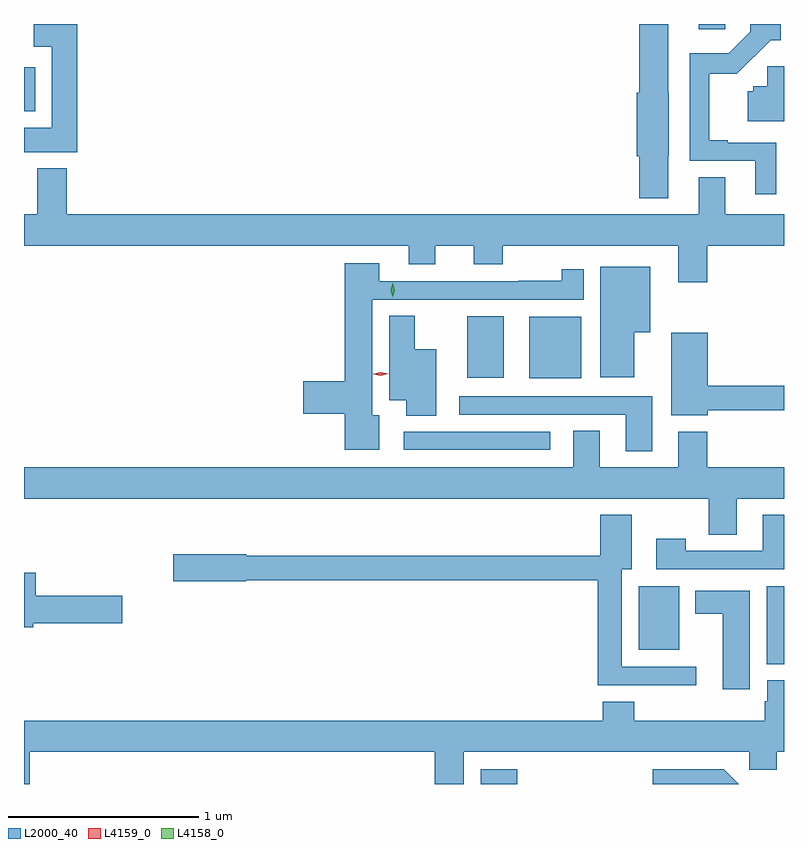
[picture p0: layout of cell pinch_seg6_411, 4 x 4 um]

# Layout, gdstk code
import gdstk
lib = gdstk.Library(unit=1e-6, precision=1e-09)
def R(c, l, rs):  # rectangles x0, y0, x1, y1
    for r in rs: c.add(gdstk.rectangle(r[:2], r[2:], *l))
def P(c, l, *ps):  # polygons
    for p in ps: c.add(gdstk.Polygon(p, *l))
L2000_40 = (2000, 40)
L4158_0 = (4158, 0)
L4159_0 = (4159, 0)

pinch_seg6_411 = lib.new_cell('pinch_seg6_411')
R(pinch_seg6_411, L2000_40, [(654.465,919.194,654.657,919.272), (655.97,919.825,656.062,920.236), (655.298,919.901,655.51,920.236), (654.06,920.952,654.832,921.048), (654.722,921.329,654.994,921.652), (654.395,921.332,654.586,921.655), (652.062,922.736,652.12,922.966), (655.613,923.166,655.752,923.194)])
P(pinch_seg6_411, L2000_40, [(656.02,922.569),(655.765,922.569),(655.765,922.582),(655.669,922.582),(655.669,922.931),(655.813,922.931),(655.991,923.108),(656.045,923.108),(656.045,923.194),(655.884,923.194),(655.884,923.154),(655.77,923.04),(655.565,923.04),(655.565,922.473),(655.91,922.473),(655.91,922.299),(656.02,922.299)],
  [(655.453,922.497),(655.456,922.497),(655.456,922.833),(655.453,922.833),(655.453,923.194),(655.301,923.194),(655.301,922.833),(655.286,922.833),(655.286,922.497),(655.301,922.497),(655.301,922.277),(655.453,922.277)],
  [(652.343,923.194),(652.113,923.194),(652.113,923.075),(652.208,923.075),(652.208,922.648),(652.062,922.648),(652.062,922.52),(652.343,922.52)],
  [(656.062,922.971),(655.975,922.971),(655.975,922.866),(655.899,922.866),(655.899,922.839),(655.871,922.839),(655.871,922.682),(656.062,922.682)],
  [(655.658,922.028),(656.062,922.028),(656.062,922.192),(655.753,922.192),(655.753,922.387),(655.613,922.387),(655.613,922.192),(652.286,922.192),(652.286,922.435),(652.133,922.435),(652.133,922.192),(652.062,922.192),(652.062,922.028),(654.086,922.028),(654.086,921.929),(654.226,921.929),(654.226,922.028),(654.428,922.028),(654.428,921.929),(654.581,921.929),(654.581,922.028),(655.505,922.028),(655.505,921.834),(655.658,921.834)],
  [(653.932,921.136),(653.896,921.136),(653.896,921.744),(655.009,921.744),(655.009,921.904),(654.892,921.904),(654.892,921.842),(654.664,921.842),(654.664,921.84),(653.932,921.84),(653.932,921.934),(653.75,921.934),(653.75,921.314),(653.532,921.314),(653.532,921.143),(653.75,921.143),(653.75,920.954),(653.932,920.954)],
  [(655.273,921.572),(655.357,921.572),(655.357,921.916),(655.094,921.916),(655.094,921.335),(655.273,921.335)],
  [(654.232,921.481),(654.118,921.481),(654.118,921.659),(653.984,921.659),(653.984,921.215),(654.074,921.215),(654.074,921.133),(654.232,921.133)],
  [(655.66,921.162),(656.062,921.162),(656.062,921.29),(655.66,921.29),(655.66,921.568),(655.469,921.568),(655.469,921.134),(655.66,921.134)],
  [(655.369,921.234),(654.354,921.234),(654.354,921.138),(655.229,921.138),(655.229,920.946),(655.369,920.946)],
  [(655.813,920.696),(656.062,920.696),(656.062,920.86),(655.658,920.86),(655.658,921.049),(655.505,921.049),(655.505,920.86),(655.093,920.86),(655.093,921.053),(654.953,921.053),(654.953,920.86),(652.062,920.86),(652.062,920.696),(655.666,920.696),(655.666,920.506),(655.813,920.506)],
  [(656.062,920.611),(655.949,920.611),(655.949,920.421),(655.545,920.421),(655.545,920.485),(655.389,920.485),(655.389,920.325),(656.062,920.325)],
  [(655.6,919.812),(655.207,919.812),(655.207,920.324),(655.261,920.324),(655.261,920.611),(655.094,920.611),(655.094,920.395),(653.232,920.395),(653.232,920.403),(652.848,920.403),(652.848,920.261),(653.232,920.261),(653.232,920.266),(655.082,920.266),(655.082,919.715),(655.6,919.715)],
  [(652.111,920.039),(652.579,920.039),(652.579,920.186),(652.124,920.186),(652.124,920.307),(652.062,920.307),(652.062,920.018),(652.111,920.018)],
  [(655.882,920.212),(655.595,920.212),(655.595,920.09),(655.739,920.09),(655.739,919.692),(655.882,919.692)],
  [(652.093,919.364),(654.224,919.364),(654.224,919.194),(654.376,919.194),(654.376,919.364),(655.878,919.364),(655.878,919.269),(656.025,919.269),(656.025,919.364),(656.062,919.364),(656.062,919.74),(655.973,919.74),(655.973,919.629),(655.961,919.629),(655.961,919.528),(655.274,919.528),(655.274,919.627),(655.109,919.627),(655.109,919.528),(652.062,919.528),(652.062,919.194),(652.093,919.194)],
  [(655.744,919.272),(655.371,919.272),(655.371,919.194),(655.823,919.194)])
P(pinch_seg6_411, L4158_0, [(654.002,921.757),(654.002,921.758),(653.992,921.793),(654.003,921.829),(654.003,921.829),(654.003,921.829),(654.012,921.793),(654.002,921.758)])
P(pinch_seg6_411, L4159_0, [(653.94,921.342),(653.902,921.351),(653.901,921.351),(653.902,921.352),(653.94,921.362),(653.978,921.352),(653.978,921.352),(653.978,921.352)])

lib.write_gds('pinch_seg6_411.gds')
